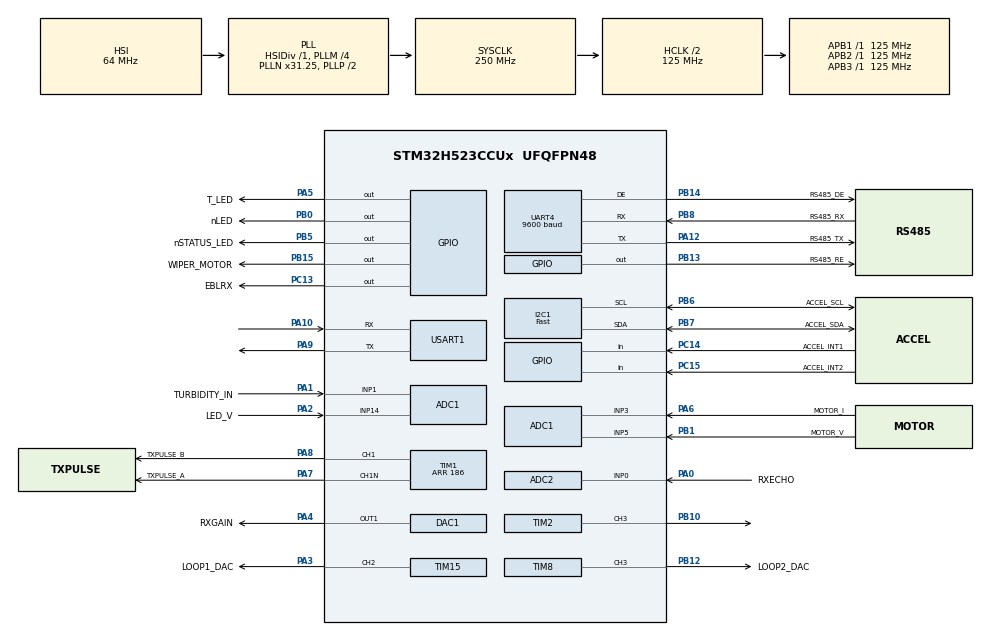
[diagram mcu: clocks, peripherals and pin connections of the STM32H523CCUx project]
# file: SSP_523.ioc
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ADC1.Channel-0\#ChannelRegularConversion=ADC_CHANNEL_1
ADC1.MonitoredBy-0\#ChannelRegularConversion=__NULL
ADC1.NbrOfConversionFlag=1
ADC1.OffsetNumber-0\#ChannelRegularConversion=ADC_OFFSET_NONE
ADC1.OversamplingMode=ENABLE
ADC1.Rank-0\#ChannelRegularConversion=1
ADC1.Ratio=ADC_OVERSAMPLING_RATIO_256
ADC1.RightBitShift=ADC_RIGHTBITSHIFT_8
ADC1.SamplingTime-0\#ChannelRegularConversion=ADC_SAMPLETIME_2CYCLES_5
ADC1.master=1
ADC2.Channel-0\#ChannelRegularConversion=ADC_CHANNEL_0
ADC2.ClockPrescaler=ADC_CLOCK_ASYNC_DIV4
ADC2.ExternalTrigConv=ADC_SOFTWARE_START
ADC2.MonitoredBy-0\#ChannelRegularConversion=__NULL
ADC2.NbrOfConversion=1
ADC2.NbrOfConversionFlag=1
ADC2.OffsetNumber-0\#ChannelRegularConversion=ADC_OFFSET_NONE
ADC2.Overrun=ADC_OVR_DATA_OVERWRITTEN
ADC2.OversamplingMode=DISABLE
ADC2.Rank-0\#ChannelRegularConversion=1
ADC2.SamplingMode=ADC_SAMPLING_MODE_BULB
ADC2.SamplingTime-0\#ChannelRegularConversion=ADC_SAMPLETIME_2CYCLES_5
BOOTPATH.BootPathName=LEGACY
BOOTPATH.UserSelectedBootPath=LEGACY
CORTEX_M33_NS.userName=CORTEX_M33
DAC1.DAC_Channel-DAC_OUT1_Ext=DAC_CHANNEL_1
DTS.SamplingTime=DTS_SMP_TIME_15_CYCLE
I2C1.I2C_Speed_Mode=I2C_Fast
I2C1.Timing=0x00000004
Mcu.Family=STM32H5
Mcu.Name=STM32H523CCUx
Mcu.Package=UFQFPN48
NVIC.ADC1_IRQn=true\:0\:0\:false\:false\:true\:false\:true\:true\:true
NVIC.ADC2_IRQn=true\:0\:0\:false\:false\:true\:false\:true\:true\:true
NVIC.DTS_IRQn=true\:0\:0\:false\:false\:true\:false\:true\:true\:true
NVIC.I2C1_ER_IRQn=true\:0\:0\:false\:false\:true\:false\:true\:true\:true
NVIC.I2C1_EV_IRQn=true\:0\:0\:false\:false\:true\:false\:true\:true\:true
NVIC.PriorityGroup=NVIC_PRIORITYGROUP_4
NVIC.RCC_IRQn=true\:0\:0\:false\:false\:true\:false\:true\:false\:true
NVIC.RTC_IRQn=true\:0\:0\:false\:false\:true\:false\:true\:true\:true
NVIC.TIM1_BRK_IRQn=true\:0\:0\:false\:false\:true\:false\:true\:true\:true
NVIC.TIM1_CC_IRQn=true\:0\:0\:false\:false\:true\:false\:true\:true\:true
NVIC.TIM1_TRG_COM_IRQn=true\:0\:0\:false\:false\:true\:false\:true\:true\:true
NVIC.TIM1_UP_IRQn=true\:0\:0\:false\:false\:true\:false\:true\:true\:true
NVIC.TIM4_IRQn=true\:0\:0\:false\:false\:true\:false\:true\:true\:true
NVIC.TIM6_IRQn=true\:15\:0\:false\:false\:true\:false\:false\:true\:true
NVIC.TimeBase=TIM6_IRQn
NVIC.TimeBaseIP=TIM6
NVIC.UART4_IRQn=true\:0\:0\:false\:false\:true\:false\:true\:true\:true
NVIC.USART1_IRQn=true\:0\:0\:false\:false\:true\:false\:true\:true\:true
PA0.GPIO_Label=RXECHO
PA0.Signal=ADCx_INP0
PA1.GPIO_Label=TURBIDITY_IN
PA1.Signal=ADCx_INP1
PA10.Mode=Asynchronous
PA10.Signal=USART1_RX
PA11.GPIO_Label=ADC_TRIG_IN
PA11.Signal=GPXTI11
PA12.GPIO_Label=RS485_TX
PA12.Mode=Asynchronous
PA12.Signal=UART4_TX
PA13(JTMS/SWDIO).Mode=JTAG_5_pins
PA13(JTMS/SWDIO).Signal=DEBUG_JTMS-SWDIO
PA14(JTCK/SWCLK).Mode=JTAG_5_pins
PA14(JTCK/SWCLK).Signal=DEBUG_JTCK-SWCLK
PA15(JTDI).Mode=JTAG_5_pins
PA15(JTDI).Signal=DEBUG_JTDI
PA2.GPIO_Label=LED_V
PA2.Signal=ADCx_INP14
PA3.GPIO_Label=LOOP1_DAC
PA3.Signal=S_TIM15_CH2
PA4.GPIO_Label=RXGAIN
PA4.Signal=COMP_DAC11_group
PA5.GPIO_Label=T_LED
PA5.Signal=GPIO_Output
PA6.GPIO_Label=MOTOR_I
PA6.Signal=ADCx_INP3
PA7.GPIO_Label=TXPULSE_A
PA7.GPIO_Speed=GPIO_SPEED_FREQ_VERY_HIGH
PA7.Mode=PWM Generation1 CH1 CH1N
PA7.Signal=TIM1_CH1N
PA8.GPIO_Label=TXPULSE_B
PA8.GPIO_Speed=GPIO_SPEED_FREQ_VERY_HIGH
PA8.Signal=S_TIM1_CH1
PA9.Mode=Asynchronous
PA9.Signal=USART1_TX
PB0.GPIO_Label=nLED
PB0.Signal=GPIO_Output
PB1.GPIO_Label=MOTOR_V
PB1.Signal=ADCx_INP5
PB10.Signal=S_TIM2_CH3
PB12.GPIO_Label=LOOP2_DAC
PB12.Signal=S_TIM8_CH3
PB13.GPIO_Label=RS485_RE
PB13.Signal=GPIO_Output
PB14.GPIO_Label=RS485_DE
PB14.Mode=Hardware Flow Control (RS485)
PB14.Signal=UART4_DE
PB15.GPIO_Label=WIPER_MOTOR
PB15.Signal=GPIO_Output
PB2.Signal=S_LPTIM1_CH1
PB3(JTDO/TRACESWO).Mode=JTAG_5_pins
PB3(JTDO/TRACESWO).Signal=DEBUG_JTDO-SWO
PB4(NJTRST).Mode=JTAG_5_pins
PB4(NJTRST).Signal=DEBUG_NJTRST
PB5.GPIO_Label=nSTATUS_LED
PB5.Signal=GPIO_Output
PB6.GPIO_Label=ACCEL_SCL
PB6.Mode=I2C
PB6.Signal=I2C1_SCL
PB7.GPIO_Label=ACCEL_SDA
PB7.Mode=I2C
PB7.Signal=I2C1_SDA
PB8.GPIO_Label=RS485_RX
PB8.Mode=Asynchronous
PB8.Signal=UART4_RX
PC13.GPIO_Label=EBLRX
PC13.Signal=GPIO_Output
PC14-OSC32_IN(OSC32_IN).GPIO_Label=ACCEL_INT1
PC14-OSC32_IN(OSC32_IN).Signal=GPIO_Input
PC15-OSC32_OUT(OSC32_OUT).GPIO_Label=ACCEL_INT2
PC15-OSC32_OUT(OSC32_OUT).Signal=GPIO_Input
ProjectManager.HeapSize=0x400
ProjectManager.StackSize=0x800
ProjectManager.TargetToolchain=STM32CubeIDE
RCC.ADCCLockSelection=RCC_ADCDACCLKSOURCE_SYSCLK
RCC.ADCFreq_Value=250000000
RCC.AHBCLKDivider=RCC_SYSCLK_DIV2
RCC.AHBFreq_Value=125000000
RCC.APB1Freq_Value=125000000
RCC.APB1TimFreq_Value=125000000
RCC.APB2Freq_Value=125000000
RCC.APB2TimFreq_Value=125000000
RCC.APB3Freq_Value=125000000
RCC.CSI_VALUE=4000000
RCC.CortexFreq_Value=125000000
RCC.DACLowPowerCLockSelection=RCC_DACLPCLKSOURCE_LSI
RCC.EPOD_VALUE=64000000
RCC.HCLKFreq_Value=125000000
RCC.HSE_VALUE=25000000
RCC.HSI48_VALUE=48000000
RCC.HSIDiv=RCC_HSI_DIV1
RCC.HSI_VALUE=64000000
RCC.I2C1CLockSelection=RCC_I2C1CLKSOURCE_CSI
RCC.LSE_VALUE=32768
RCC.LSIRC_VALUE=32000
RCC.PLL2FRACN=0
RCC.PLL2M=4
RCC.PLL2N=31
RCC.PLL2Source=RCC_PLL2_SOURCE_HSI
RCC.PLL3FRACN=0
RCC.PLL3M=2
RCC.PLL3N=160
RCC.PLLFRACN=2048
RCC.PLLM=4
RCC.PLLN=31
RCC.PLLSourceVirtual=RCC_PLL1_SOURCE_HSI
RCC.SYSCLKFreq_VALUE=250000000
RCC.SYSCLKSource=RCC_SYSCLKSOURCE_PLLCLK
RCC.UART4CLockSelection=RCC_UART4CLKSOURCE_CSI
RCC.USART1CLockSelection=RCC_USART1CLKSOURCE_CSI
RCC.USBFreq_Value=48000000
RCC.VCOOutputFreq_Value=500000000
SH.ADCx_INP0.0=ADC1_INP0
SH.ADCx_INP0.1=ADC2_INP0,IN0-Single-Ended
SH.ADCx_INP1.0=ADC1_INP1,IN1-Single-Ended
SH.ADCx_INP14.0=ADC1_INP14,IN14-Single-Ended
SH.ADCx_INP3.0=ADC1_INP3,IN3-Single-Ended
SH.ADCx_INP5.0=ADC1_INP5,IN5-Single-Ended
SH.COMP_DAC11_group.0=DAC1_OUT1,DAC_OUT1_Ext
SH.S_LPTIM1_CH1.0=LPTIM1_CH1
SH.S_TIM15_CH2.0=TIM15_CH2,PWM Generation2 CH2
SH.S_TIM1_CH1.0=TIM1_CH1,PWM Generation1 CH1 CH1N
SH.S_TIM2_CH3.0=TIM2_CH3,PWM Generation3 CH3
SH.S_TIM8_CH3.0=TIM8_CH3,PWM Generation3 CH3
THREADX.TX_APP_CREATION=1
THREADX.TX_APP_GENERATE_INIT_CODE=true
THREADX.TX_APP_MEM_POOL_SIZE=61440
THREADX.TX_APP_MSG_QUEUE_CREATION=1
THREADX.TX_MSG_QUEUE_NAME=mcp_cmd_queue
THREADX.TX_NB_MSG=10
TIM1.Channel-PWM\ Generation1\ CH1\ CH1N=TIM_CHANNEL_1
TIM1.DeadTime=2
TIM1.PeriodNoDither=186
TIM1.PulseNoDither_1=46
TIM1.RepetitionCounter=22
TIM15.Channel-PWM\ Generation2\ CH2=TIM_CHANNEL_2
TIM2.Channel-PWM\ Generation3\ CH3=TIM_CHANNEL_3
TIM4.PeriodNoDither=52
TIM4.Prescaler=11
TIM4.TIM_MasterOutputTrigger=TIM_TRGO_UPDATE
TIM5.Prescaler=124
TIM8.Channel-PWM\ Generation3\ CH3=TIM_CHANNEL_3
UART4.BaudRate=9600
UART4.FIFOMode=FIFOMODE_ENABLE
UART4.RXFIFOThreshold=RXFIFO_THRESHOLD_HALFFULL
UART4.TXFIFOThreshold=TXFIFO_THRESHOLD_HALFFULL
UART4.UART_DEAssertionTime=16
UART4.UART_DEDeassertionTime=8
USART1.VirtualMode-Asynchronous=VM_ASYNC
VP_ADC1_TempSens_Input.Mode=IN-TempSens
VP_BOOTPATH_VS_BOOTPATH.Mode=BP_Activate
VP_CORTEX_M33_NS_VS_Hclk.Mode=Hclk_Mode
VP_CRC_VS_CRC.Mode=CRC_Activate
VP_DCACHE1_VS_DCACHE.Mode=DCACHE_Activate
VP_DTS_VS-DTS.Mode=DTS
VP_FLASH_SIG_Activate_FlashIP.Mode=Activate_FlashIP
VP_ICACHE_VS_ENABLE_ICACHE_MEMORY.Mode=Memoryregions
VP_IWDG_VS_IWDG.Mode=IWDG_Activate
VP_MEMORYMAP_VS_MEMORYMAP.Mode=CurAppReg
VP_PWR_VS_DBSignals.Mode=DisableDeadBatterySignals
VP_PWR_VS_LPOM.Mode=PowerOptimisation
VP_PWR_VS_SECSignals.Mode=Security/Privilege
VP_RTC_VS_RTC_Activate.Mode=RTC_Enabled
VP_RTC_VS_RTC_WakeUp_intern.Mode=WakeUp
VP_SYS_VS_tim6.Mode=TIM6
VP_THREADX_VS_RTOSJjThreadXJjCoreJjDefault.Mode=Core_Default
VP_TIM12_VS_ClockSourceINT.Mode=Internal
VP_TIM1_VS_ClockSourceINT.Mode=Internal
VP_TIM2_VS_ClockSourceINT.Mode=Internal
VP_TIM4_VS_ClockSourceINT.Mode=Internal
VP_TIM5_VS_ClockSourceINT.Mode=Internal
VP_TIM7_VS_ClockSourceINT.Mode=Enable_Timer
VP_TIM8_VS_ClockSourceINT.Mode=Internal
board=custom

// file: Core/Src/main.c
/* USER CODE BEGIN Header */
/**
 ******************************************************************************
 * @file           : main.c
 * @brief          : Main program body
 ******************************************************************************
 * @attention
 *
 * Copyright (c) 2025 STMicroelectronics.
 * All rights reserved.
 *
 * This software is licensed under terms that can be found in the LICENSE file
 * in the root directory of this software component.
 * If no LICENSE file comes with this software, it is provided AS-IS.
 *
 ******************************************************************************
 */
/* USER CODE END Header */
#include "app_threadx.h"
#include "main.h"
#include "adc.h"
#include "crc.h"
#include "dac.h"
#include "dcache.h"
#include "dts.h"
#include "flash.h"
#include "i2c.h"
#include "icache.h"
#include "rtc.h"
#include "tim.h"
#include "usart.h"
#include "gpio.h"

/* USER CODE BEGIN Includes */
#include <stdio.h>
#include "version.h"
#include "stm32h5xx_hal_conf.h"

/* USER CODE END Includes */

/* USER CODE BEGIN PM */

#ifndef TICK_INT_PRIORITY
#error Missing definition
#endif

#if TICK_INT_PRIORITY != 14
#error TICK_INT_PRIORITY should be 14
#endif

/* USER CODE END PM */

/* USER CODE BEGIN PV */

extern UART_HandleTypeDef huart1;

/* USER CODE END PV */

void SystemClock_Config(void);

/* USER CODE BEGIN 0 */

#ifdef __GNUC__
#define PUTCHAR_PROTOTYPE int __io_putchar(int ch)
#else
#define PUTCHAR_PROTOTYPE int fputc(int ch, FILE *f)
#endif

#define PRINTF_RETRIES	4
#define PRINTF_DELAY	500

PUTCHAR_PROTOTYPE
{
   HAL_StatusTypeDef	rval;
   int8_t				retry = PRINTF_RETRIES;

   while( --retry > 0 )
   {
      rval = HAL_UART_Transmit( &huart1, (uint8_t *)&ch, 1, HAL_MAX_DELAY);
      if( rval == HAL_BUSY )
      {
	 HAL_Delay( PRINTF_DELAY );
      }
      else
      {
	 retry = 0;
      }
   }
   return ch;
}

/* USER CODE END 0 */

int main(void)
{

  /* MCU Configuration--------------------------------------------------------*/

  /* Reset of all peripherals, Initializes the Flash interface and the Systick. */
  HAL_Init();

  /* Configure the system clock */
  SystemClock_Config();

  /* Initialize all configured peripherals */
  MX_GPIO_Init();
  MX_ICACHE_Init();
  MX_DCACHE1_Init();
  MX_FLASH_Init();
  MX_TIM1_Init();
  MX_TIM2_Init();
  MX_TIM7_Init();
  MX_TIM8_Init();
  MX_TIM12_Init();
  MX_TIM15_Init();
  MX_USART1_UART_Init();
  MX_UART4_Init();
  MX_ADC1_Init();
  MX_ADC2_Init();
  MX_DAC1_Init();
  MX_DTS_Init();
  MX_I2C1_Init();
  MX_TIM5_Init();
  MX_TIM4_Init();
  MX_CRC_Init();
  MX_RTC_Init();
  /* USER CODE BEGIN 2 */

   display_last_reset_reason();

   GPIO_led_off();
   GPIO_status_led_off();
   GPIO_turbidity_led_off();

  /* USER CODE END 2 */

  MX_ThreadX_Init();

  /* We should never get here as control is now taken by the scheduler */

  /* Infinite loop */
   while (1)
   {

   }
}

void SystemClock_Config(void)
{
  RCC_OscInitTypeDef RCC_OscInitStruct = {0};
  RCC_ClkInitTypeDef RCC_ClkInitStruct = {0};

  /** Configure the main internal regulator output voltage
  */
  __HAL_PWR_VOLTAGESCALING_CONFIG(PWR_REGULATOR_VOLTAGE_SCALE0);

  while(!__HAL_PWR_GET_FLAG(PWR_FLAG_VOSRDY)) {}

  /** Initializes the RCC Oscillators according to the specified parameters
  * in the RCC_OscInitTypeDef structure.
  */
  RCC_OscInitStruct.OscillatorType = RCC_OSCILLATORTYPE_HSI|RCC_OSCILLATORTYPE_LSI
                              |RCC_OSCILLATORTYPE_CSI;
  RCC_OscInitStruct.HSIState = RCC_HSI_ON;
  RCC_OscInitStruct.HSIDiv = RCC_HSI_DIV1;
  RCC_OscInitStruct.HSICalibrationValue = RCC_HSICALIBRATION_DEFAULT;
  RCC_OscInitStruct.LSIState = RCC_LSI_ON;
  RCC_OscInitStruct.CSIState = RCC_CSI_ON;
  RCC_OscInitStruct.CSICalibrationValue = RCC_CSICALIBRATION_DEFAULT;
  RCC_OscInitStruct.PLL.PLLState = RCC_PLL_ON;
  RCC_OscInitStruct.PLL.PLLSource = RCC_PLL1_SOURCE_HSI;
  RCC_OscInitStruct.PLL.PLLM = 4;
  RCC_OscInitStruct.PLL.PLLN = 31;
  RCC_OscInitStruct.PLL.PLLP = 2;
  RCC_OscInitStruct.PLL.PLLQ = 2;
  RCC_OscInitStruct.PLL.PLLR = 2;
  RCC_OscInitStruct.PLL.PLLRGE = RCC_PLL1_VCIRANGE_3;
  RCC_OscInitStruct.PLL.PLLVCOSEL = RCC_PLL1_VCORANGE_WIDE;
  RCC_OscInitStruct.PLL.PLLFRACN = 2048;
  if (HAL_RCC_OscConfig(&RCC_OscInitStruct) != HAL_OK)
  {
    Error_Handler();
  }

  /** Initializes the CPU, AHB and APB buses clocks
  */
  RCC_ClkInitStruct.ClockType = RCC_CLOCKTYPE_HCLK|RCC_CLOCKTYPE_SYSCLK
                              |RCC_CLOCKTYPE_PCLK1|RCC_CLOCKTYPE_PCLK2
                              |RCC_CLOCKTYPE_PCLK3;
  RCC_ClkInitStruct.SYSCLKSource = RCC_SYSCLKSOURCE_PLLCLK;
  RCC_ClkInitStruct.AHBCLKDivider = RCC_SYSCLK_DIV2;
  RCC_ClkInitStruct.APB1CLKDivider = RCC_HCLK_DIV1;
  RCC_ClkInitStruct.APB2CLKDivider = RCC_HCLK_DIV1;
  RCC_ClkInitStruct.APB3CLKDivider = RCC_HCLK_DIV1;

  if (HAL_RCC_ClockConfig(&RCC_ClkInitStruct, FLASH_LATENCY_5) != HAL_OK)
  {
    Error_Handler();
  }

  /** Configure the programming delay
  */
  __HAL_FLASH_SET_PROGRAM_DELAY(FLASH_PROGRAMMING_DELAY_2);
}

/* USER CODE BEGIN 4 */

void display_last_reset_reason( void )
{

   printf( "Last reset reason(s):\r\n" );

   if( __HAL_RCC_GET_FLAG( RCC_FLAG_BORRST ) )
   {
      printf( "\tBOR reset\r\n" );
   }

   if( __HAL_RCC_GET_FLAG( RCC_FLAG_PINRST ) )
   {
      printf( "\tPin reset\r\n" );
   }

   if( __HAL_RCC_GET_FLAG( RCC_FLAG_SFTRST ) )
   {
      printf( "\tSoftware reset\r\n" );
   }

   if( __HAL_RCC_GET_FLAG( RCC_FLAG_IWDGRST ) )
   {
      printf( "\tIndependent Watchdog reset\r\n" );
   }

   if( __HAL_RCC_GET_FLAG( RCC_FLAG_WWDGRST ) )
   {
      printf( "\tWindow Watchdog reset\r\n" );
   }

   if( __HAL_RCC_GET_FLAG( RCC_FLAG_LPWRRST ) )
   {
      printf( "\tLow Power reset\r\n" );
   }

   return;
} // end of display_last_reset_reason()

/* USER CODE END 4 */

void HAL_TIM_PeriodElapsedCallback(TIM_HandleTypeDef *htim)
{
  if (htim->Instance == TIM6)
  {
    HAL_IncTick();
  }
  /* USER CODE BEGIN Callback 1 */
   else if( htim->Instance == TIM1 )
   {
      asm("nop");
   }

  /* USER CODE END Callback 1 */
}

void Error_Handler(void)
{
  /* USER CODE BEGIN Error_Handler_Debug */
   /* User can add his own implementation to report the HAL error return state */
   __disable_irq();

   GPIO_led_off();
   GPIO_status_led_off();
   GPIO_turbidity_led_off();

   while (1)
   {
      for( uint32_t i=0; i < 900000; i++ )
      {
	 ;	// NOP
      }
      GPIO_led_toggle();

   }
  /* USER CODE END Error_Handler_Debug */
}
#ifdef USE_FULL_ASSERT
/**
  * @brief  Reports the name of the source file and the source line number
  *         where the assert_param error has occurred.
  * @param  file: pointer to the source file name
  * @param  line: assert_param error line source number
  * @retval None
  */
void assert_failed(uint8_t *file, uint32_t line)
{
  /* USER CODE BEGIN 6 */

   printf("Wrong parameters value: file %s on line %ld\r\n", file, line);

  /* USER CODE END 6 */
}
#endif /* USE_FULL_ASSERT */
